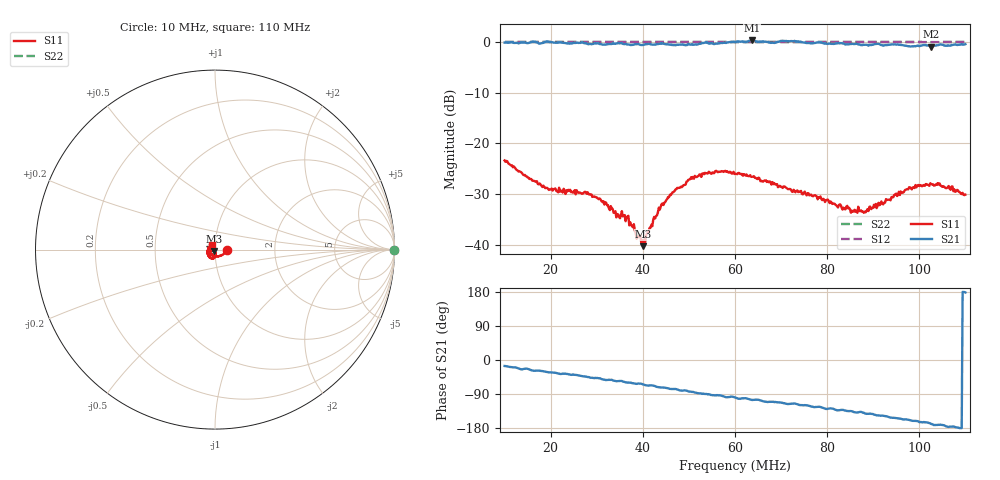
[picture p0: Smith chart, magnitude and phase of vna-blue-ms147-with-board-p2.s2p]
! Anritsu VNA Master:  Model: MS2034B/10/19/501
! SN:  1337062
! /bd0/ovro-jan-2016/vna-jan/vna-blue-ms147-with-board-p2.s2p
! Existing Calibration Information:
! TYPE:  Current Settings,  Active Cal Settings
! TIME:  01/13/2016 12:41:29 PM,  01/12/2016 05:57:47 PM
! INTERNAL TEMP:  43.8 C,  46.0 C
! # POINTS:  500,  500
! START FREQ:  10.000 MHz,  10.000 MHz
! STOP FREQ:  110.000 MHz,  110.000 MHz
! SOURCE POWER:  Low,  Low
! IFBW:  100 Hz,  1 kHz
! AVG FACTOR:  1 ,  3
! REF PLANE 1:  0 mm,  0 mm
! REF PLANE 2:  0 mm,  0 mm
! CAL TYPE:  1P2P S11,S21,  1P2P S11,S21
! CAL METHOD:  SOLT,  SOLT
! CAL LINE TYPE:  Coax,  Coax
! DUT PORT 1:  K-Conn(M),  K-Conn(M)
! DUT PORT 2:  N-Conn(M),  N-Conn(M)
! CAL STATUS:  OK: Accuracy High,  --
# GHZ S DB R 50.0
! FREQ.GHZ  S11DB  S11A  S21DB  S21A  S12DB  S12A  S22DB  S22A
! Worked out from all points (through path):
!   500 points, 10 MHz to 110 MHz, reference 50 ohm
!   highest |S21| = 0.30 dB at 63.71 MHz (marker M1); lowest = -0.9 dB at 102.6 MHz (marker M2)
!   group delay of S21, straight-line fit = 4.5 ns
!   lowest |S11| = -40.3 dB at 40.06 MHz (marker M3), VSWR 1.02, Z = 49.6 - j0.872 ohm
!   |S11| at or under -10 dB: start of sweep to end of sweep
!   |S22| runs from 0.0 to 0.0 dB; largest |S21 - S12| = 2
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0.01  -23.38 -2.5  -0.11 -15.8  0.00 0.0  0.00 0.0
0.01921844  -28.78 -89.2  0.12 -31.9  0.00 0.0  0.00 0.0
0.02683367  -29.95 -152.0  -0.11 -42.7  0.00 0.0  0.00 0.0
0.03645291  -34.49 -172.6  -0.44 -59.0  0.00 0.0  0.00 0.0
0.04006012  -40.28 -114.9  -0.59 -64.5  0.00 0.0  0.00 0.0
0.04346693  -32.66 -85.1  -0.34 -71.8  0.00 0.0  0.00 0.0
0.04627254  -29.90 -87.8  -0.59 -76.8  0.00 0.0  0.00 0.0
0.05048096  -26.67 -96.2  -0.50 -83.7  0.00 0.0  0.00 0.0
0.05609218  -25.53 -113.3  -0.33 -92.6  0.00 0.0  0.00 0.0
0.0601002  -25.99 -131.2  -0.05 -98.8  0.00 0.0  0.00 0.0
0.06370742  -26.58 -146.3  0.30 -105.5  0.00 0.0  0.00 0.0
0.06811623  -27.63 -172.4  -0.14 -110.2  0.00 0.0  0.00 0.0
0.07152305  -29.04 169.5  0.17 -116.2  0.00 0.0  0.00 0.0
0.07292585  -29.44 159.6  0.22 -114.7  0.00 0.0  0.00 0.0
0.07673347  -30.35 141.9  -0.25 -123.3  0.00 0.0  0.00 0.0
0.07833667  -30.72 137.4  -0.08 -123.5  0.00 0.0  0.00 0.0
0.07973948  -31.22 130.9  -0.31 -129.1  0.00 0.0  0.00 0.0
0.08795591  -33.68 143.0  -0.56 -139.3  0.00 0.0  0.00 0.0
0.09336673  -31.10 163.0  -0.57 -150.4  0.00 0.0  0.00 0.0
0.09757515  -29.07 160.1  -0.84 -157.5  0.00 0.0  0.00 0.0
0.1025852  -28.00 150.4  -0.93 -169.0  0.00 0.0  0.00 0.0
0.11  -30.11 117.6  -0.43 178.2  0.00 0.0  0.00 0.0
